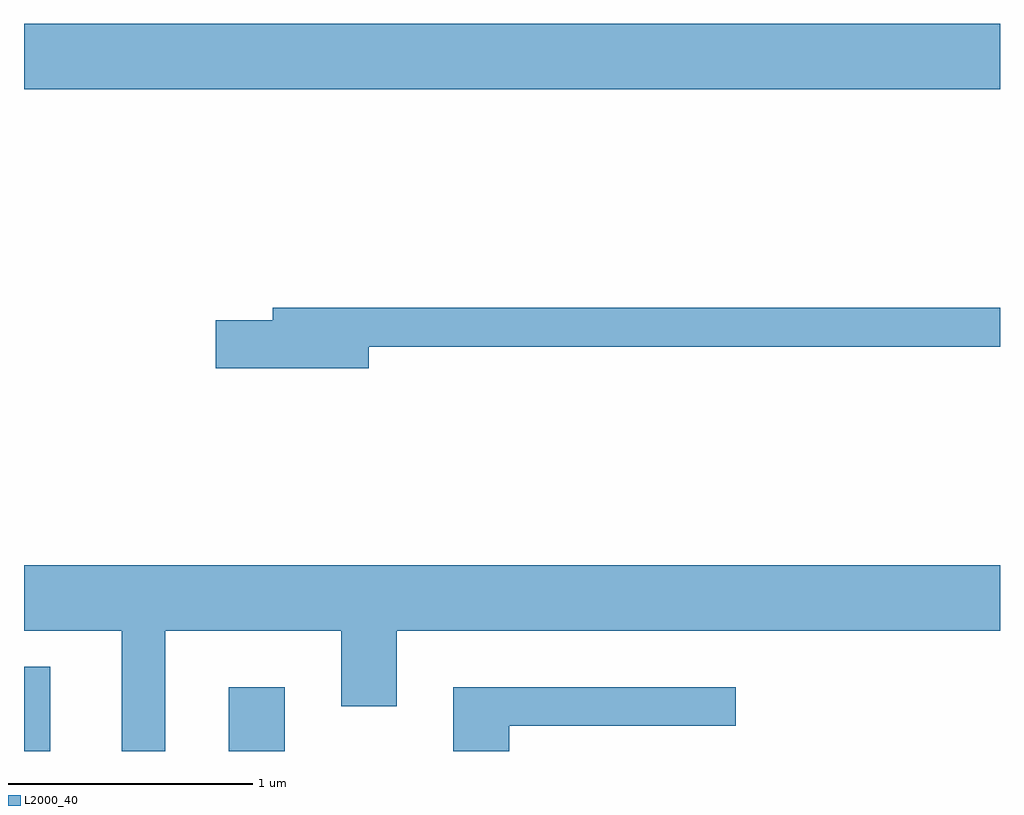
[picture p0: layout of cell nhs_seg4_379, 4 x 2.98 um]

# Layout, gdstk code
import gdstk
lib = gdstk.Library(unit=1e-6, precision=1e-09)
def R(c, l, rs):  # rectangles x0, y0, x1, y1
    for r in rs: c.add(gdstk.rectangle(r[:2], r[2:], *l))
def P(c, l, *ps):  # polygons
    for p in ps: c.add(gdstk.Polygon(p, *l))
L2000_40 = (2000, 40)

nhs_seg4_379 = lib.new_cell('nhs_seg4_379')
R(nhs_seg4_379, L2000_40, [(195.611,1331.982,195.719,1332.328), (196.451,1331.982,196.679,1332.244), (195.611,1334.696,199.611,1334.964)])
P(nhs_seg4_379, L2000_40, [(197.024,1333.641),(199.611,1333.641),(199.611,1333.799),(196.631,1333.799),(196.631,1333.749),(196.396,1333.749),(196.396,1333.551),(197.024,1333.551)],
  [(196.189,1332.476),(196.911,1332.476),(196.911,1332.166),(197.139,1332.166),(197.139,1332.476),(199.611,1332.476),(199.611,1332.744),(195.611,1332.744),(195.611,1332.476),(196.011,1332.476),(196.011,1331.982),(196.189,1331.982)],
  [(197.599,1332.086),(198.528,1332.086),(198.528,1332.244),(197.371,1332.244),(197.371,1331.982),(197.599,1331.982)])

lib.write_gds('nhs_seg4_379.gds')
